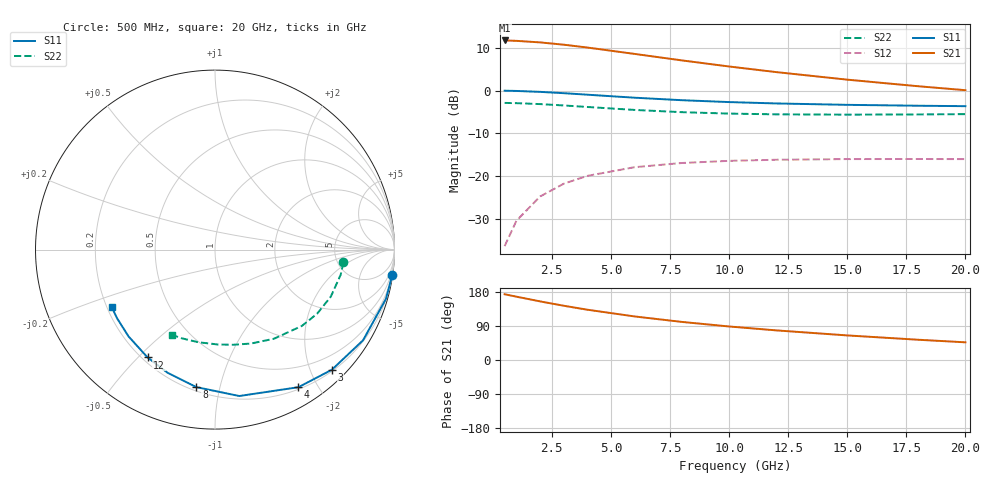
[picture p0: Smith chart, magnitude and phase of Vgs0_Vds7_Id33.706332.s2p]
# Hz S RI R 50
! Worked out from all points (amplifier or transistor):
!   12 points, 500 MHz to 20 GHz, reference 50 ohm
!   highest |S21| = 11.7 dB at 500 MHz (marker M1)
!   |S21| within 3 dB of that: start of sweep to 5.812 GHz
!   unconditionally stable (mu >= 1): 17.97 GHz to end of sweep
!   at 2 GHz: K = 0.10, MSG = 18.0 dB, |S12| = -24.7 dB
!   at 8 GHz: K = 0.42, MSG = 12.0 dB, |S12| = -16.9 dB
!   at 20 GHz: K = 1.13, MAG = 5.8 dB, |S12| = -16.0 dB
!   S11 on the Smith chart (normalised r, x): 500 MHz: 0, -14; 3 GHz: 0.22, -2.35; 4 GHz: 0.22, -1.75; 8 GHz: 0.22, -0.85; 12 GHz: 0.22, -0.53; 20 GHz: 0.22, -0.25
5e8  0.9879 -0.1401  -3.825 0.4353  0.00147 0.0152  0.7154 -0.0714
1e9  0.9526 -0.2742  -3.712 0.8513  0.00576 0.0297  0.7002 -0.1403
2e9  0.825 -0.5051  -3.304 1.563  0.0212 0.0541  0.6448 -0.2629
3e9  0.6511 -0.6693  -2.75 2.058  0.0421 0.0703  0.5683 -0.3578
4e9  0.4648 -0.7666  -2.16 2.338  0.0643 0.0782  0.4845 -0.425
6e9  0.1352 -0.8158  -1.131 2.432  0.1026 0.0763  0.3279 -0.4968
8e9  -0.1034 -0.7663  -0.4106 2.216  0.1286 0.0627  0.2008 -0.5233
1e10  -0.2653 -0.6856  0.0508 1.912  0.1443 0.0462  0.0991 -0.5304
1.2e10  -0.3755 -0.6009  0.3376 1.609  0.1532 0.0302  0.0142 -0.5285
1.5e10  -0.4815 -0.4839  0.5704 1.216  0.1587 0.00903  -0.0933 -0.516
1.8e10  -0.5457 -0.3824  0.6698 0.904  0.1591 -0.0082  -0.1849 -0.4942
2e10  -0.5744 -0.3224  0.6948 0.7357  0.1578 -0.0178  -0.239 -0.475
